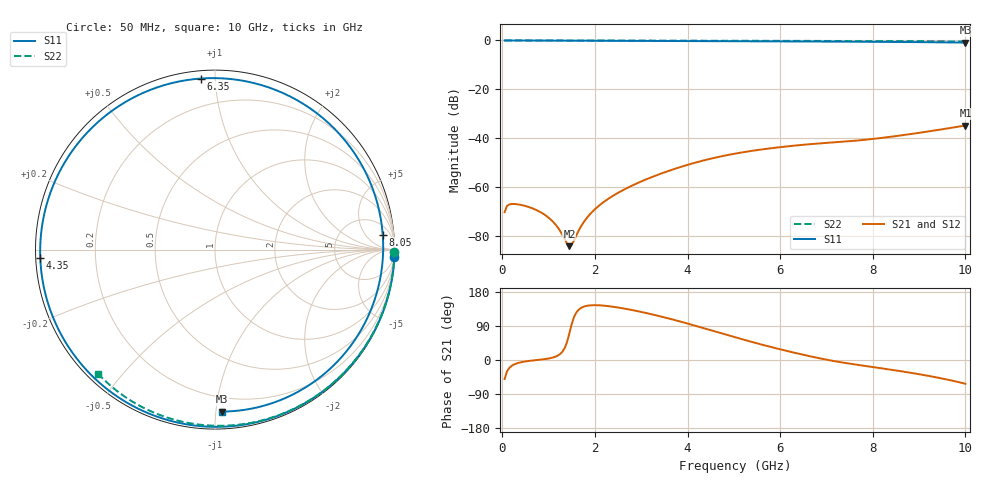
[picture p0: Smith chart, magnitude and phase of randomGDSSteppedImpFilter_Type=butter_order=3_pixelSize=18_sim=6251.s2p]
! freq	dB(S11)	phase(S11)	dB(S12)	phase(S12)
!  dB(S21)	phase(S21)	dB(S22)	phase(S22)
!S-par simulation data
#  GHz  S  DB  R 50
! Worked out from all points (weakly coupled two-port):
!   200 points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, 50 MHz to 10 GHz, reference 50 ohm
!   highest |S21| = -34.87 dB at 10 GHz (marker M1); lowest = -84.3 dB at 1.45 GHz (marker M2)
!   lowest |S11| = -0.9 dB at 10 GHz (marker M3), VSWR 19.71, Z = 5.29 - j52 ohm
!   |S11| at or under -10 dB: nowhere
!   |S22| runs from -0.4 to 0.0 dB; largest |S21 - S12| = 0
!   S11 on the Smith chart (normalised r, x): 50 MHz: 0, -51; 4.35 GHz: 0.01, -0.02; 6.35 GHz: 0.04, +0.92; 8.05 GHz: 11, +15; 10 GHz: 0.11, -1.04
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0.05  -0.00 -2.3  -70.40 -50.1  -70.40 -50.1  -0.00 -0.8
0.1  -0.00 -4.5  -67.86 -30.6  -67.86 -30.6  -0.00 -1.5
0.2  -0.00 -9.0  -67.04 -15.5  -67.04 -15.5  -0.00 -3.1
0.6  -0.03 -26.8  -68.45 -2.1  -68.45 -2.1  -0.01 -9.2
1  -0.05 -44.3  -72.65 3.9  -72.65 3.9  -0.02 -15.3
1.3  -0.07 -57.1  -79.76 22.3  -79.76 22.3  -0.02 -19.8
1.45  -0.08 -63.5  -84.33 70.9  -84.33 70.9  -0.03 -22.1
1.6  -0.09 -69.7  -79.86 125.6  -79.86 125.6  -0.03 -24.3
1.75  -0.09 -75.9  -74.72 140.4  -74.72 140.4  -0.03 -26.6
2  -0.10 -86.1  -69.19 144.7  -69.19 144.7  -0.04 -30.3
2.35  -0.12 -100.0  -64.15 141.2  -64.15 141.2  -0.05 -35.4
3.4  -0.17 -140.6  -54.77 115.6  -54.77 115.6  -0.07 -50.6
4.35  -0.22 -177.2  -49.17 84.0  -49.17 84.0  -0.09 -63.8
5.05  -0.27 154.4  -46.31 59.2  -46.31 59.2  -0.11 -73.2
5.75  -0.33 123.6  -44.31 35.9  -44.31 35.9  -0.14 -82.3
6.35  -0.39 94.8  -43.03 18.0  -43.03 18.0  -0.16 -89.9
6.7  -0.42 77.0  -42.43 8.4  -42.43 8.4  -0.18 -94.3
7.45  -0.49 37.2  -41.38 -8.7  -41.38 -8.7  -0.22 -103.4
8.05  -0.55 5.1  -40.27 -19.4  -40.27 -19.4  -0.27 -110.6
8.35  -0.59 -10.5  -39.58 -24.8  -39.58 -24.8  -0.29 -114.1
9.2  -0.72 -52.2  -37.30 -41.8  -37.30 -41.8  -0.36 -124.0
10  -0.88 -87.5  -34.87 -62.7  -34.87 -62.7  -0.45 -133.2
